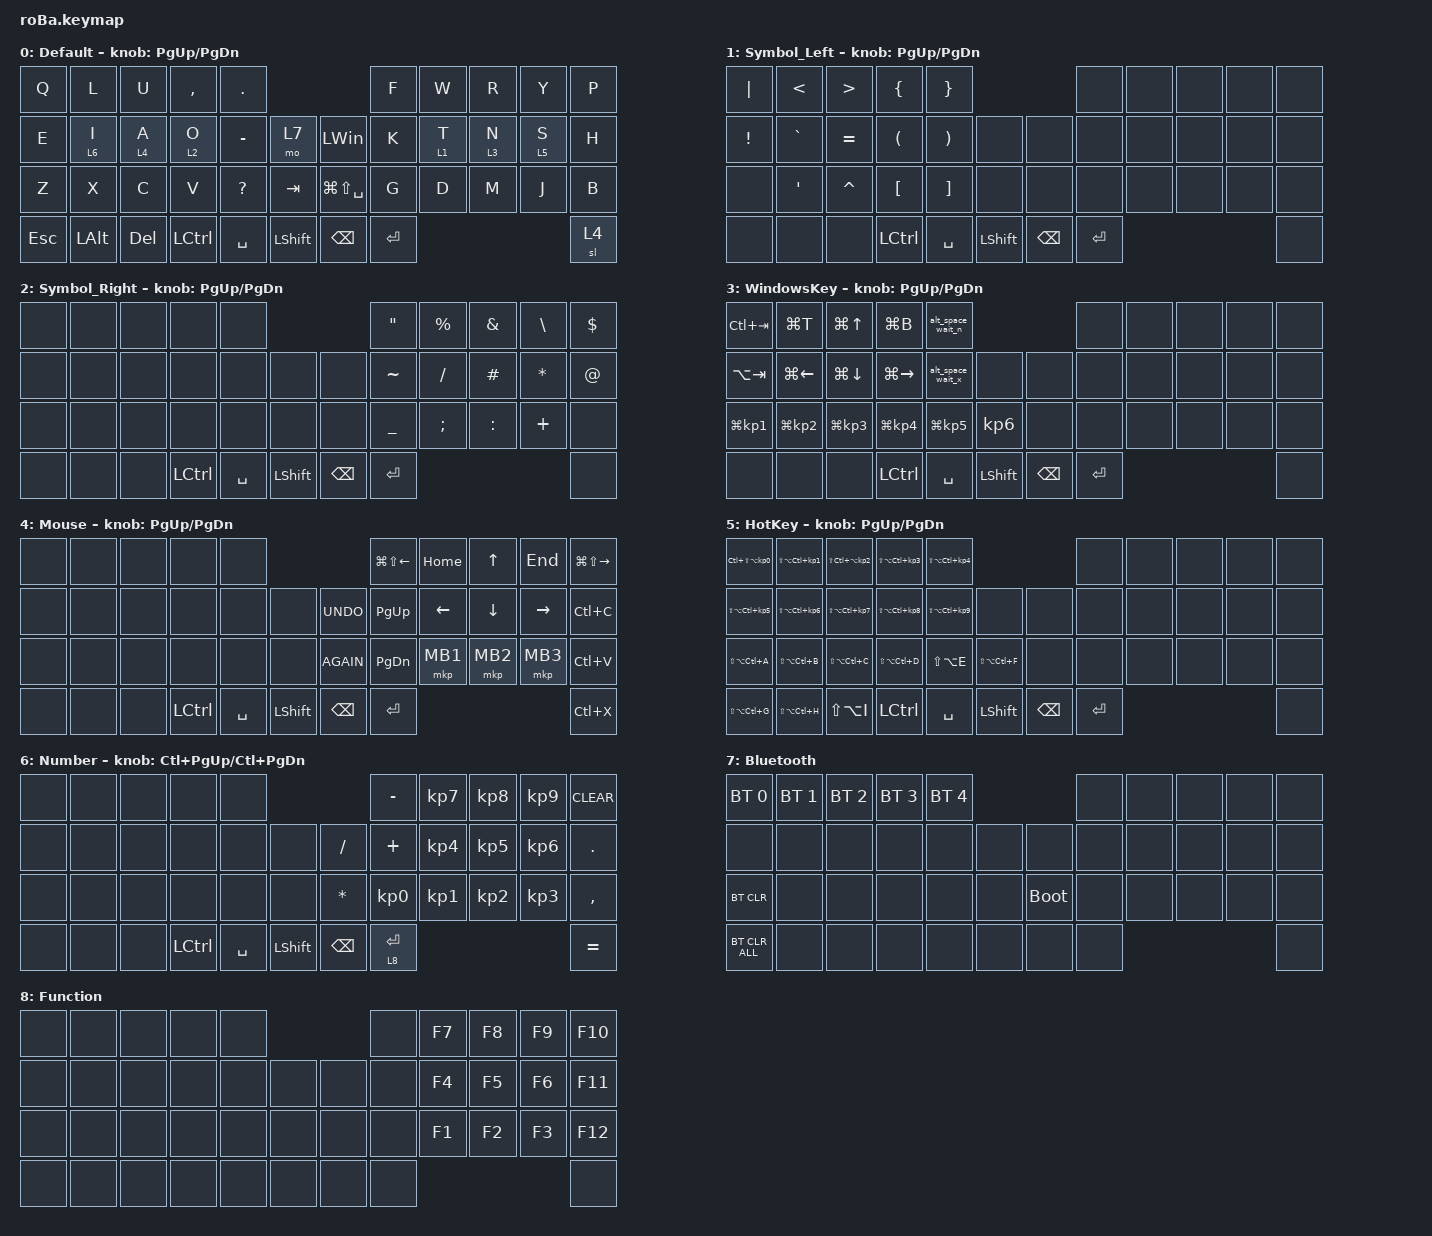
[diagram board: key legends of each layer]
#include <behaviors.dtsi>
#include <dt-bindings/zmk/bt.h>
#include <dt-bindings/zmk/keys.h>
#include <dt-bindings/zmk/pointing.h>

#define MOUSE 4
#define SCROLL 5
#define NUM 6

&mt {
    flavor = "balanced";
    quick-tap-ms = <0>;
};

/ {
    combos {
        compatible = "zmk,combos";

        HIRAGANA {
            bindings = <&kp LANGUAGE_1>;
            key-positions = <32 31>;
            layers = <0>;
        };

        EIJI {
            bindings = <&kp LANGUAGE_2>;
            key-positions = <23 24>;
            layers = <0>;
        };

        Layer_0 {
            bindings = <&sl 0>;
            key-positions = <31 32>;
            layers = <4>;
        };
    };

    macros {
        to_layer_0: to_layer_0 {
            compatible = "zmk,behavior-macro-one-param";
            #binding-cells = <1>;
            bindings = <&to 0 &macro_param_1to1 &kp MACRO_PLACEHOLDER>;
            label = "TO_LAYER_0";
        };

        alt_space_wait_n: alt_space_wait_n {
            compatible = "zmk,behavior-macro";
            #binding-cells = <0>;
            bindings = <&kp LA(SPACE)>, <&macro_wait_time 500>, <&kp N>;

            label = "ALT_SPACE_WAIT_N";
        };

        alt_space_wait_x: alt_space_wait_x {
            compatible = "zmk,behavior-macro";
            #binding-cells = <0>;
            bindings = <&kp LA(SPACE)>, <&macro_wait_time 500>, <&kp X>;

            label = "ALT_SPACE_WAIT_X";
        };
    };

    behaviors {
        lt_to_layer_0: lt_to_layer_0 {
            compatible = "zmk,behavior-hold-tap";
            label = "LAYER_TAP_TO_0";
            bindings = <&mo>, <&to_layer_0>;

            #binding-cells = <2>;
            tapping-term-ms = <200>;
        };
    };

    keymap {
        compatible = "zmk,keymap";

        Default {
            bindings = <
&kp Q       &kp L         &kp U       &kp COMMA  &kp PERIOD                                           &kp F      &kp W    &kp R    &kp Y    &kp P
&kp E       &lt 6 I       &lt 4 A     &lt 2 O    &kp MINUS     &mo 7               &kp LEFT_WIN       &kp K      &lt 1 T  &lt 3 N  &lt 5 S  &kp H
&kp Z       &kp X         &kp C       &kp V      &kp QUESTION  &kp TAB             &kp LG(LS(SPACE))  &kp G      &kp D    &kp M    &kp J    &kp B
&kp ESCAPE  &kp LEFT_ALT  &kp DELETE  &kp LCTRL  &kp SPACE     &kp LEFT_SHIFT      &kp BACKSPACE      &kp ENTER                             &sl 4
            >;

            sensor-bindings = <&inc_dec_kp PG_UP PAGE_DOWN>;
        };

        Symbol_Left {
            bindings = <
&kp PIPE         &kp LESS_THAN  &kp GREATER_THAN  &kp LEFT_BRACE        &kp RIGHT_BRACE                                           &none      &none  &none  &none  &none
&kp EXCLAMATION  &kp GRAVE      &kp EQUAL         &kp LEFT_PARENTHESIS  &kp RIGHT_PARENTHESIS  &none               &none          &none      &none  &none  &none  &none
&none            &kp SQT        &kp CARET         &kp LEFT_BRACKET      &kp RIGHT_BRACKET      &none               &none          &none      &none  &none  &none  &none
&none            &none          &none             &kp LCTRL             &kp SPACE              &kp LEFT_SHIFT      &kp BACKSPACE  &kp ENTER                       &none
            >;

            sensor-bindings = <&inc_dec_kp PG_UP PG_DN>;
        };

        Symbol_Right {
            bindings = <
&none  &none  &none  &none      &none                                         &kp DOUBLE_QUOTES  &kp PERCENT    &kp AMPERSAND  &kp BACKSLASH  &kp DOLLAR
&none  &none  &none  &none      &none      &none               &none          &kp TILDE          &kp SLASH      &kp HASH       &kp ASTERISK   &kp AT_SIGN
&none  &none  &none  &none      &none      &none               &none          &kp UNDERSCORE     &kp SEMICOLON  &kp COLON      &kp PLUS       &none
&none  &none  &none  &kp LCTRL  &kp SPACE  &kp LEFT_SHIFT      &kp BACKSPACE  &kp ENTER                                                       &none
            >;

            sensor-bindings = <&inc_dec_kp PG_UP PG_DN>;
        };

        WindowsKey {
            bindings = <
&kp LC(TAB)          &kp LG(T)            &kp LG(UP_ARROW)     &kp LG(B)            &alt_space_wait_n                                        &none      &none  &none  &none  &none
&kp LA(TAB)          &kp LG(LEFT_ARROW)   &kp LG(DOWN_ARROW)   &kp LG(RIGHT_ARROW)  &alt_space_wait_x    &none                &none          &none      &none  &none  &none  &none
&kp LG(KP_NUMBER_1)  &kp LG(KP_NUMBER_2)  &kp LG(KP_NUMBER_3)  &kp LG(KP_NUMBER_4)  &kp LG(KP_NUMBER_5)  &kp KP_NUMBER_6      &none          &none      &none  &none  &none  &none
&none                &none                &none                &kp LCTRL            &kp SPACE            &kp LEFT_SHIFT       &kp BACKSPACE  &kp ENTER                       &none
            >;

            sensor-bindings = <&inc_dec_kp PG_UP PG_DN>;
        };

        Mouse {
            bindings = <
&none  &none  &none  &none      &none                                         &kp LG(LS(LEFT_ARROW))  &kp HOME        &kp UP_ARROW    &kp END          &kp LG(LS(RIGHT_ARROW))
&none  &none  &none  &none      &none      &none               &kp K_UNDO     &kp PG_UP               &kp LEFT_ARROW  &kp DOWN_ARROW  &kp RIGHT_ARROW  &kp LC(C)
&none  &none  &none  &none      &none      &none               &kp K_AGAIN    &kp PG_DN               &mkp MB1        &mkp MB2        &mkp MB3         &kp LC(V)
&none  &none  &none  &kp LCTRL  &kp SPACE  &kp LEFT_SHIFT      &kp BACKSPACE  &kp ENTER                                                                &kp LC(X)
            >;

            sensor-bindings = <&inc_dec_kp PG_UP PG_DN>;
        };

        HotKey {
            bindings = <
&kp LC(LS(LA(KP_NUMBER_0)))  &kp LS(LA(LC(KP_NUMBER_1)))  &kp LS(LC(LA(KP_NUMBER_2)))  &kp LS(LA(LC(KP_NUMBER_3)))  &kp LS(LA(LC(KP_NUMBER_4)))                                        &none      &none  &none  &none  &none
&kp LS(LA(LC(KP_NUMBER_5)))  &kp LS(LA(LC(KP_NUMBER_6)))  &kp LS(LA(LC(KP_NUMBER_7)))  &kp LS(LA(LC(KP_NUMBER_8)))  &kp LS(LA(LC(KP_NUMBER_9)))  &none                  &none          &none      &none  &none  &none  &none
&kp LS(LA(LC(A)))            &kp LS(LA(LC(B)))            &kp LS(LA(LC(C)))            &kp LS(LA(LC(D)))            &kp LS(LA(E))                &kp LS(LA(LC(F)))      &none          &none      &none  &none  &none  &none
&kp LS(LA(LC(G)))            &kp LS(LA(LC(H)))            &kp LS(LA(I))                &kp LEFT_CONTROL             &kp SPACE                    &kp LEFT_SHIFT         &kp BACKSPACE  &kp ENTER                       &none
            >;

            sensor-bindings = <&inc_dec_kp PG_UP PG_DN>;
        };

        Number {
            bindings = <
&none  &none  &none  &none      &none                                         &kp MINUS        &kp KP_NUMBER_7  &kp KP_NUMBER_8  &kp KP_NUMBER_9  &kp CLEAR
&none  &none  &none  &none      &none      &none               &kp SLASH      &kp PLUS         &kp KP_NUMBER_4  &kp KP_NUMBER_5  &kp KP_NUMBER_6  &kp PERIOD
&none  &none  &none  &none      &none      &none               &kp ASTERISK   &kp KP_NUMBER_0  &kp KP_NUMBER_1  &kp KP_NUMBER_2  &kp KP_NUMBER_3  &kp COMMA
&none  &none  &none  &kp LCTRL  &kp SPACE  &kp LEFT_SHIFT      &kp BACKSPACE  &lt 8 ENTER                                                         &kp EQUAL
            >;

            sensor-bindings = <&inc_dec_kp LC(PAGE_UP) LC(PAGE_DOWN)>;
        };

        Bluetooth {
            bindings = <
&bt BT_SEL 0    &bt BT_SEL 1  &bt BT_SEL 2  &bt BT_SEL 3  &bt BT_SEL 4                          &none  &none  &none  &none  &none
&none           &none         &none         &none         &none         &none      &none        &none  &none  &none  &none  &none
&bt BT_CLR      &none         &none         &none         &none         &none      &bootloader  &none  &none  &none  &none  &none
&bt BT_CLR_ALL  &none         &none         &none         &none         &none      &none        &none                       &none
            >;
        };

        Function {
            bindings = <
&none  &none  &none  &none  &none                    &none  &kp F7  &kp F8  &kp F9  &kp F10
&none  &none  &none  &none  &none  &none      &none  &none  &kp F4  &kp F5  &kp F6  &kp F11
&none  &none  &none  &none  &none  &none      &none  &none  &kp F1  &kp F2  &kp F3  &kp F12
&none  &none  &none  &none  &none  &none      &none  &none                          &none
            >;
        };
    };
};
